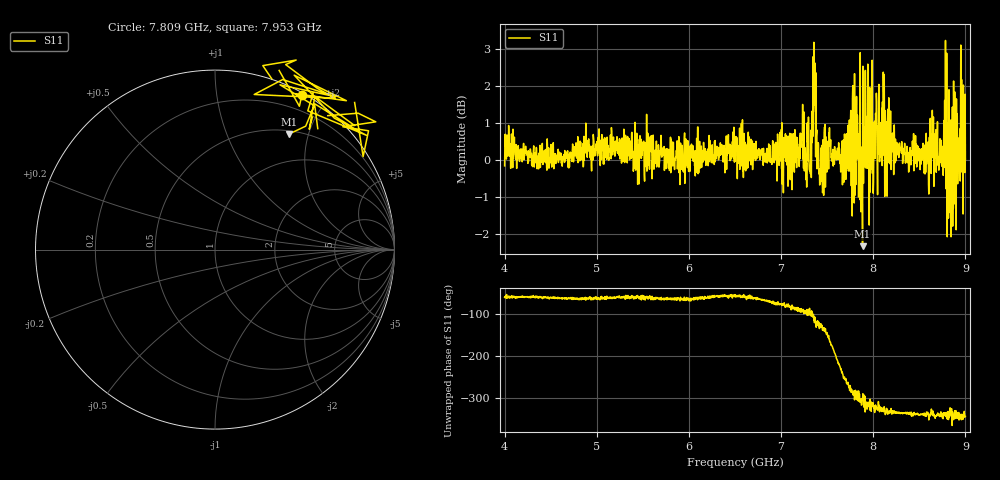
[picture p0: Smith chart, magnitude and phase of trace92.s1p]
! Created with skrf 1.8.0 (http://scikit-rf.org).
# Hz S RI R 50.0
!freq ReS11 ImS11
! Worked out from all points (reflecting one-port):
!   1601 points, 4 GHz to 9 GHz, reference 50 ohm
!   lowest |S11| = -2.3 dB at 7.884 GHz (marker M1), VSWR 7.53, Z = 27.3 + j84.9 ohm
!   phase of S11 starts at -59 deg and turns -286 deg over the sweep
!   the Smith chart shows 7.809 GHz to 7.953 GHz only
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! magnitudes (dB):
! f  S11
! 4 GHz  -0.2
! 4.625 GHz  -0.2
! 5.25 GHz  0.0
! 5.875 GHz  -0.2
! 6.5 GHz  0.4
! 7.125 GHz  0.3
! 7.225 GHz  0.7
! 7.297 GHz  1.2
! 7.319 GHz  -0.4
! 7.359 GHz  2.1
! 7.406 GHz  0.4
! 7.438 GHz  -0.6
! 7.509 GHz  0.1
! 7.659 GHz  0.4
! 7.75 GHz  0.0
! 7.884 GHz  -2.3
! 7.928 GHz  -0.1
! 7.981 GHz  -0.2
! 8.119 GHz  2.3
! 8.375 GHz  -0.1
! 8.581 GHz  0.1
! 8.656 GHz  0.6
! 8.738 GHz  0.4
! 8.775 GHz  1.6
! 8.828 GHz  -1.4
! 8.919 GHz  -0.3
! 8.972 GHz  0.5
! 9 GHz  0.0
